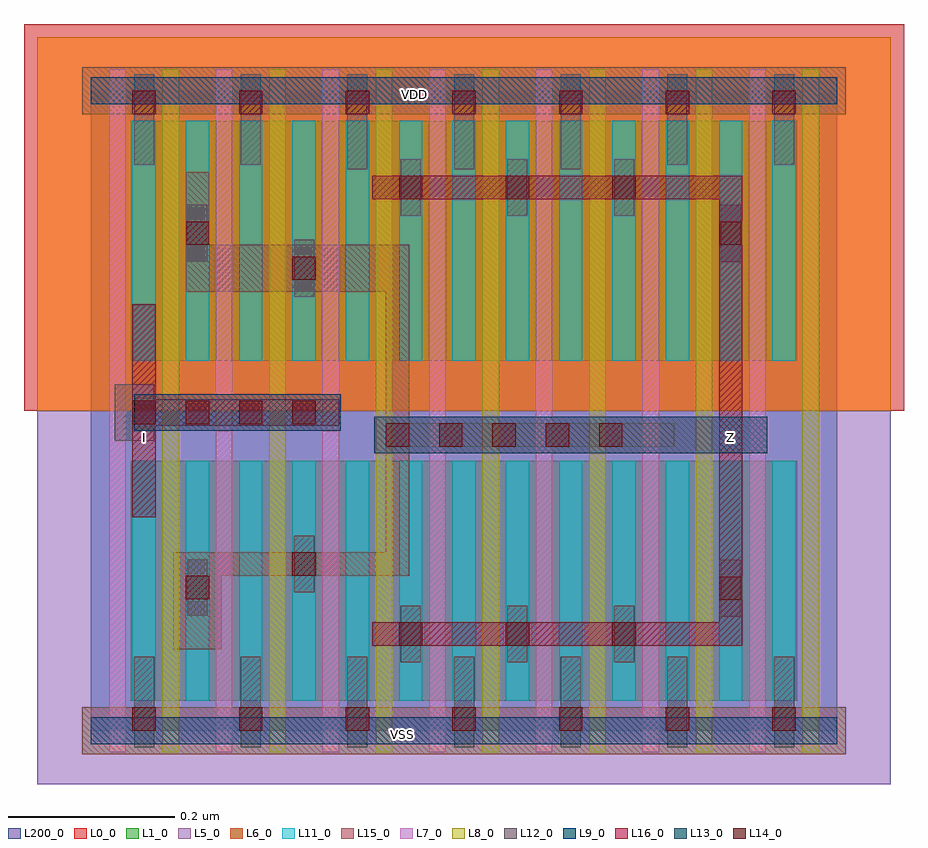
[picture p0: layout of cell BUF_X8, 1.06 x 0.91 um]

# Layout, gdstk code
import gdstk
lib = gdstk.Library(unit=1e-6, precision=1e-09)
def R(c, l, rs):  # rectangles x0, y0, x1, y1
    for r in rs: c.add(gdstk.rectangle(r[:2], r[2:], *l))
def A(c, l, x, y, w, h, nx, ny, dx, dy):  # array of equal rectangles
    R(c, l, [(x+i*dx, y+j*dy, x+i*dx+w, y+j*dy+h) for i in range(nx) for j in range(ny)])
def P(c, l, *ps):  # polygons
    for p in ps: c.add(gdstk.Polygon(p, *l))
L0_0 = (0, 0)
L1_0 = (1, 0)
L5_0 = (5, 0)
L6_0 = (6, 0)
L7_0 = (7, 0)
L8_0 = (8, 0)
L9_0 = (9, 0)
L11_0 = (11, 0)
L12_0 = (12, 0)
L13_0 = (13, 0)
L14_0 = (14, 0)
L15_0 = (15, 0)
L16_0 = (16, 0)
L200_0 = (200, 0)

buf_x8 = lib.new_cell('BUF_X8')
R(buf_x8, L0_0, [(-0.08,0.384,0.976,0.848)])
R(buf_x8, L1_0, [(0.048,0.036,0.848,0.324), (0.048,0.444,0.848,0.732)])
R(buf_x8, L5_0, [(-0.064,-0.064,0.96,0.384)])
R(buf_x8, L6_0, [(-0.064,0.384,0.96,0.832)])
A(buf_x8, L7_0, 0.022, -0.026, 0.02, 0.82, 7, 1, 0.128, 0)
A(buf_x8, L8_0, 0.086, -0.026, 0.02, 0.82, 7, 1, 0.128, 0)
R(buf_x8, L9_0, [(0,-0.016,0.896,0.016), (0,0.752,0.896,0.784)])
A(buf_x8, L11_0, 0.05, 0.036, 0.028, 0.288, 13, 2, 0.064, 0.408)
A(buf_x8, L12_0, 0.052, -0.02, 0.024, 0.109, 7, 1, 0.128, 0)
A(buf_x8, L12_0, 0.372, 0.082, 0.024, 0.068, 3, 2, 0.128, 0.536)
A(buf_x8, L12_0, 0.308, 0.674, 0.024, 0.114, 3, 1, 0.128, 0)
R(buf_x8, L12_0, [(0.756,0.137,0.78,0.205), (0.116,0.138,0.14,0.206), (0.244,0.166,0.268,0.234), (0.029,0.348,0.076,0.416), (0.244,0.521,0.268,0.589), (0.116,0.563,0.14,0.631), (0.756,0.563,0.78,0.631), (0.052,0.679,0.076,0.788), (0.18,0.679,0.204,0.788), (0.692,0.679,0.716,0.788), (0.82,0.679,0.844,0.788)])
R(buf_x8, L13_0, [(0.34,0.333,0.812,0.377), (0.052,0.36,0.3,0.404)])
A(buf_x8, L14_0, 0.05, 0, 0.028, 0.028, 7, 2, 0.128, 0.74)
A(buf_x8, L14_0, 0.37, 0.102, 0.028, 0.028, 3, 2, 0.128, 0.536)
A(buf_x8, L14_0, 0.354, 0.341, 0.028, 0.028, 5, 1, 0.064, 0)
A(buf_x8, L14_0, 0.05, 0.368, 0.028, 0.028, 4, 1, 0.064, 0)
R(buf_x8, L14_0, [(0.754,0.157,0.782,0.185), (0.114,0.158,0.142,0.186), (0.242,0.186,0.27,0.214), (0.242,0.541,0.27,0.569), (0.114,0.583,0.142,0.611), (0.754,0.583,0.782,0.611)])
R(buf_x8, L15_0, [(-0.01,-0.028,0.906,0.028), (-0.01,0.74,0.906,0.796)])
P(buf_x8, L15_0, [(0.114,0.527),(0.354,0.527),(0.354,0.214),(0.099,0.214),(0.099,0.098),(0.157,0.098),(0.157,0.186),(0.382,0.186),(0.382,0.341),(0.7,0.341),(0.7,0.369),(0.382,0.369),(0.382,0.583),(0.142,0.583),(0.142,0.67),(0.114,0.67)])
P(buf_x8, L16_0, [(0.05,0.256),(0.078,0.256),(0.078,0.366),(0.298,0.366),(0.298,0.398),(0.078,0.398),(0.078,0.512),(0.05,0.512)],
  [(0.338,0.638),(0.754,0.638),(0.754,0.13),(0.338,0.13),(0.338,0.102),(0.782,0.102),(0.782,0.666),(0.338,0.666)])
R(buf_x8, L200_0, [(0,0,0.896,0.768)])
buf_x8.add(gdstk.Label('VSS', (0.374,-0.004), layer=15, texttype=20))
buf_x8.add(gdstk.Label('VDD', (0.389,0.764), layer=15, texttype=20))
buf_x8.add(gdstk.Label('I', (0.064,0.352), layer=16, texttype=20))
buf_x8.add(gdstk.Label('Z', (0.768,0.352), layer=16, texttype=20))

lib.write_gds('BUF_X8.gds')
